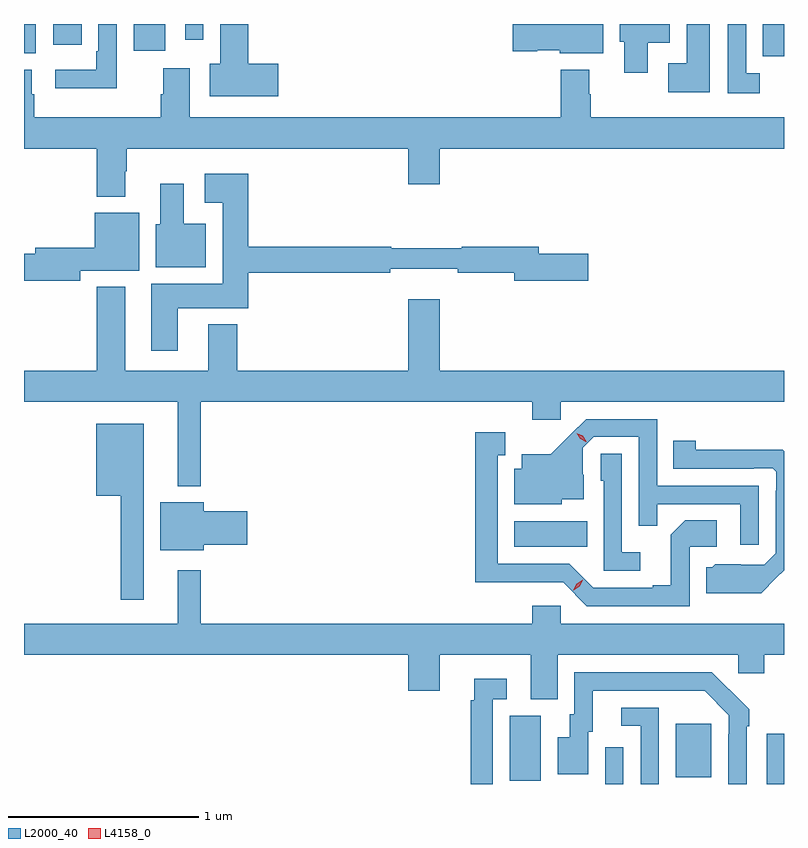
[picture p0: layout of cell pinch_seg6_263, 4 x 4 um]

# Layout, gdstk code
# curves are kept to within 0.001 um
import gdstk
lib = gdstk.Library(unit=1e-6, precision=1e-09)
def R(c, l, rs):  # rectangles x0, y0, x1, y1
    for r in rs: c.add(gdstk.rectangle(r[:2], r[2:], *l))
def P(c, l, *ps):  # polygons
    for p in ps: c.add(gdstk.Polygon(p, *l))
L2000_40 = (2000, 40)
L4158_0 = (4158, 0)

pinch_seg6_263 = lib.new_cell('pinch_seg6_263')
R(pinch_seg6_263, L2000_40, [(885.324,986.616,885.42,986.809), (886.173,986.616,886.265,986.881), (884.822,986.632,884.986,986.976), (885.695,986.651,885.883,986.932), (884.846,987.866,885.23,988), (886.154,990.445,886.265,990.616), (882.265,990.461,882.328,990.616), (882.842,990.474,883.009,990.616), (882.419,990.507,882.568,990.616), (883.113,990.534,883.209,990.616)])
P(pinch_seg6_263, L2000_40, [(882.753,990.616),(882.657,990.616),(882.657,990.472),(882.645,990.472),(882.645,990.376),(882.429,990.376),(882.429,990.278),(882.753,990.278)],
  [(885.874,990.616),(885.752,990.616),(885.752,990.409),(885.657,990.409),(885.657,990.257),(885.874,990.257)],
  [(886.138,990.357),(886.065,990.357),(886.065,990.616),(885.969,990.616),(885.969,990.252),(886.138,990.252)],
  [(885.547,990.518),(885.664,990.518),(885.664,990.616),(885.401,990.616),(885.401,990.522),(885.425,990.522),(885.425,990.36),(885.547,990.36)],
  [(885.313,990.616),(885.08,990.616),(885.08,990.614),(884.838,990.614),(884.838,990.472),(884.967,990.472),(884.967,990.479),(885.084,990.479),(885.084,990.461),(885.313,990.461)],
  [(883.603,990.407),(883.445,990.407),(883.445,990.616),(883.298,990.616),(883.298,990.407),(883.242,990.407),(883.242,990.236),(883.603,990.236)],
  [(882.799,989.84),(882.807,989.84),(882.807,989.96),(884.288,989.96),(884.288,989.772),(884.452,989.772),(884.452,989.96),(886.265,989.96),(886.265,990.124),(885.249,990.124),(885.249,990.245),(885.241,990.245),(885.241,990.376),(885.089,990.376),(885.089,990.124),(883.138,990.124),(883.138,990.382),(882.998,990.382),(882.998,990.245),(882.986,990.245),(882.986,990.124),(882.32,990.124),(882.32,990.245),(882.307,990.245),(882.307,990.376),(882.265,990.376),(882.265,989.96),(882.647,989.96),(882.647,989.708),(882.799,989.708)],
  [(883.075,989.12),(883.445,989.12),(883.445,989.308),(884.192,989.308),(884.192,989.327),(884.548,989.327),(884.548,989.308),(884.846,989.308),(884.846,989.266),(885.235,989.266),(885.235,989.408),(884.974,989.408),(884.974,989.444),(884.57,989.444),(884.57,989.437),(884.199,989.437),(884.199,989.444),(883.445,989.444),(883.445,989.827),(883.215,989.827),(883.215,989.675),(883.31,989.675),(883.31,989.248),(882.935,989.248),(882.935,988.896),(883.075,988.896)],
  [(883.222,989.566),(883.105,989.566),(883.105,989.776),(882.983,989.776),(882.983,989.562),(882.959,989.562),(882.959,989.336),(883.222,989.336)],
  [(882.562,989.318),(882.871,989.318),(882.871,989.623),(882.638,989.623),(882.638,989.438),(882.323,989.438),(882.323,989.408),(882.265,989.408),(882.265,989.266),(882.562,989.266)],
  [(883.195,988.628),(884.939,988.628),(884.939,988.533),(885.09,988.533),(885.09,988.628),(886.265,988.628),(886.265,988.792),(884.452,988.792),(884.452,989.167),(884.288,989.167),(884.288,988.792),(883.388,988.792),(883.388,989.035),(883.235,989.035),(883.235,988.792),(882.799,988.792),(882.799,989.233),(882.647,989.233),(882.647,988.792),(882.265,988.792),(882.265,988.628),(883.073,988.628),(883.073,988.184),(883.195,988.184)],
  [(886.131,988.185),(885.597,988.185),(885.597,988.536),(885.224,988.536),(885.037,988.351),(884.885,988.351),(884.885,988.275),(884.846,988.275),(884.846,988.088),(885.096,988.088),(885.096,988.115),(885.211,988.115),(885.211,988.244),(885.207,988.244),(885.207,988.386),(885.264,988.443),(885.501,988.443),(885.501,987.976),(885.599,987.976),(885.599,988.089),(886.035,988.089),(886.035,987.876),(886.131,987.876)],
  [(882.895,988.513),(882.644,988.513),(882.644,988.133),(882.774,988.133),(882.774,987.585),(882.895,987.585)],
  [(885.768,987.864),(885.91,987.864),(885.91,988.004),(885.745,988.004),(885.669,987.928),(885.669,987.661),(885.575,987.661),(885.575,987.648),(885.261,987.648),(885.135,987.774),(884.758,987.774),(884.758,988.347),(884.797,988.347),(884.797,988.468),(884.64,988.468),(884.64,987.677),(885.102,987.678),(885.228,987.552),(885.768,987.552)],
  [(886.225,987.701),(886.265,987.741),(886.265,988.368),(886.258,988.375),(885.801,988.376),(885.801,988.423),(885.682,988.423),(885.682,988.275),(886.106,988.275),(886.106,988.278),(886.206,988.278),(886.224,988.26),(886.224,988.16),(886.221,988.16),(886.221,987.831),(886.161,987.771),(885.904,987.772),(885.888,987.756),(885.857,987.756),(885.857,987.62),(886.145,987.62)],
  [(885.508,987.835),(885.411,987.835),(885.411,988.355),(885.3,988.355),(885.3,988.212),(885.315,988.212),(885.315,987.738),(885.508,987.738)],
  [(883.21,987.874),(883.441,987.874),(883.441,988.052),(883.21,988.052),(883.21,988.099),(882.983,988.099),(882.983,987.845),(883.21,987.845)],
  [(885.073,987.296),(886.023,987.296),(886.023,987.198),(886.162,987.198),(886.162,987.296),(886.265,987.296),(886.265,987.46),(885.09,987.46),(885.09,987.553),(884.939,987.553),(884.939,987.46),(883.195,987.46),(883.195,987.742),(883.073,987.742),(883.073,987.46),(882.265,987.46),(882.265,987.296),(884.288,987.296),(884.288,987.108),(884.452,987.108),(884.452,987.296),(884.933,987.296),(884.933,987.061),(885.073,987.061)],
  [(886.068,986.921),(886.083,986.921),(886.083,987.009),(885.886,987.204),(885.162,987.204),(885.162,986.982),(885.137,986.982),(885.137,986.863),(885.074,986.863),(885.074,986.667),(885.235,986.667),(885.235,986.892),(885.259,986.892),(885.259,987.108),(885.847,987.108),(885.975,986.979),(885.975,986.879),(885.972,986.879),(885.972,986.616),(886.068,986.616)],
  [(884.733,987.063),(884.806,987.063),(884.806,987.169),(884.636,987.169),(884.636,987.056),(884.617,987.056),(884.617,986.616),(884.733,986.616)],
  [(885.606,987.018),(885.408,987.018),(885.408,986.922),(885.51,986.922),(885.51,986.616),(885.606,986.616)])
P(pinch_seg6_263, L4158_0, [(885.222,988.418),(885.192,988.433),(885.174,988.462),(885.174,988.463),(885.175,988.463),(885.205,988.448),(885.223,988.419),(885.223,988.418)],
  [(885.157,987.637),(885.157,987.637),(885.174,987.67),(885.206,987.69),(885.206,987.69),(885.206,987.689),(885.189,987.657),(885.158,987.637)])

lib.write_gds('pinch_seg6_263.gds')
